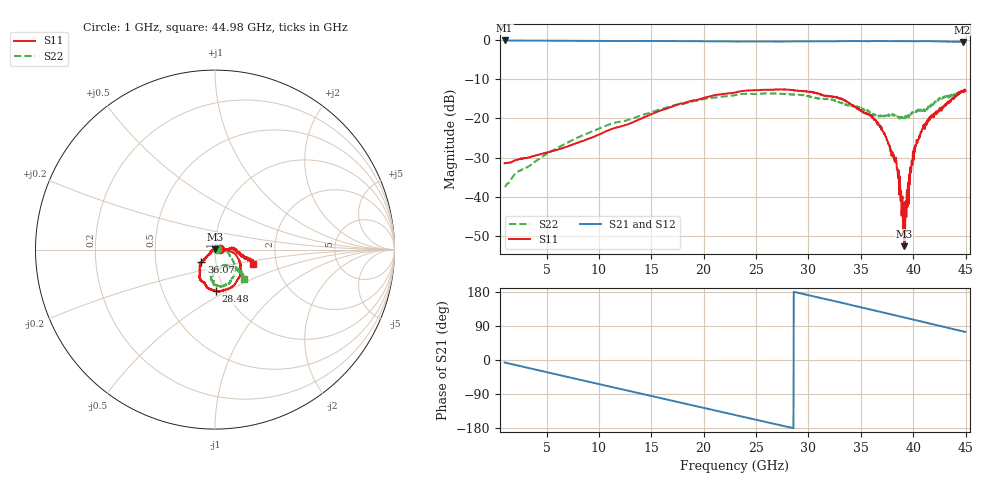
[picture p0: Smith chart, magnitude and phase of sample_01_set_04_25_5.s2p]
!Keysight Technologies,N5247B,MY61255062,A.19.80.06
!Date: Friday, March 13, 2026 16:51:16
!Correction: S11(C  2-Port  )
!S21(C  2-Port  )
!S12(C  2-Port  )
!S22(C  2-Port  )
!S2P File: Measurements: S11, S21, S12, S22:
# Hz S  dB  R 50
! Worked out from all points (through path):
!   1467 points, 1 GHz to 44.98 GHz, reference 50 ohm
!   highest |S21| = -0.17 dB at 1 GHz (marker M1); lowest = -0.5 dB at 44.71 GHz (marker M2)
!   group delay of S21, straight-line fit = 17.6 ps
!   lowest |S11| = -52.5 dB at 39.13 GHz (marker M3), VSWR 1.00, Z = 49.8 + j0.174 ohm
!   |S11| at or under -10 dB: start of sweep to end of sweep
!   |S22| runs from -37.4 to -12.6 dB; largest |S21 - S12| = 0.011
!   S11 on the Smith chart (normalised r, x): 1 GHz: 1.05, +0.01; 28.48 GHz: 0.91, -0.44; 36.07 GHz: 0.85, -0.12; 44.98 GHz: 1.50, -0.25
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1e9  -31.45 8.2  -0.17 -6.6  -0.16 -6.6  -37.38 24.5
2.29e9  -30.47 7.6  -0.19 -14.8  -0.19 -14.8  -33.50 23.6
8.35e9  -25.80 3.5  -0.27 -53.2  -0.27 -53.1  -24.42 -5.6
1.21e10  -22.05 -5.2  -0.32 -76.6  -0.32 -76.6  -20.80 -24.7
1.567e10  -18.24 -15.1  -0.31 -99.2  -0.30 -99.2  -17.85 -34.7
1.945e10  -15.28 -34.8  -0.36 -123.1  -0.35 -123.1  -15.47 -50.6
2.299e10  -13.40 -55.9  -0.44 -145.2  -0.43 -145.2  -14.07 -64.3
2.848e10  -12.80 -89.0  -0.41 -179.3  -0.41 -179.3  -13.91 -86.3
3.034e10  -13.30 -101.0  -0.39 168.9  -0.37 168.9  -14.54 -92.9
3.319e10  -15.18 -118.8  -0.35 150.9  -0.35 150.9  -16.14 -98.2
3.607e10  -19.70 -137.6  -0.31 132.4  -0.32 132.4  -18.73 -93.5
3.694e10  -22.83 -137.4  -0.32 126.5  -0.31 126.7  -19.61 -84.5
3.766e10  -26.58 -141.6  -0.32 121.8  -0.32 122.0  -18.94 -77.9
3.841e10  -31.48 -161.0  -0.32 117.2  -0.32 117.2  -19.68 -74.0
3.901e10  -45.02 122.5  -0.37 113.0  -0.34 113.1  -19.74 -64.7
3.913e10  -52.51 132.6  -0.35 112.2  -0.34 112.4  -19.71 -62.7
3.925e10  -41.99 -1.0  -0.35 111.7  -0.36 111.6  -19.98 -60.5
3.982e10  -33.08 3.0  -0.36 107.8  -0.35 107.8  -18.66 -53.9
4.006e10  -28.99 -5.3  -0.34 106.2  -0.35 106.2  -18.36 -54.1
4.087e10  -22.74 0.5  -0.34 101.1  -0.33 101.0  -17.95 -51.1
4.471e10  -12.98 -20.3  -0.53 75.8  -0.52 75.9  -13.07 -42.5
4.498e10  -13.01 -20.7  -0.52 74.3  -0.48 74.1  -12.63 -45.4
